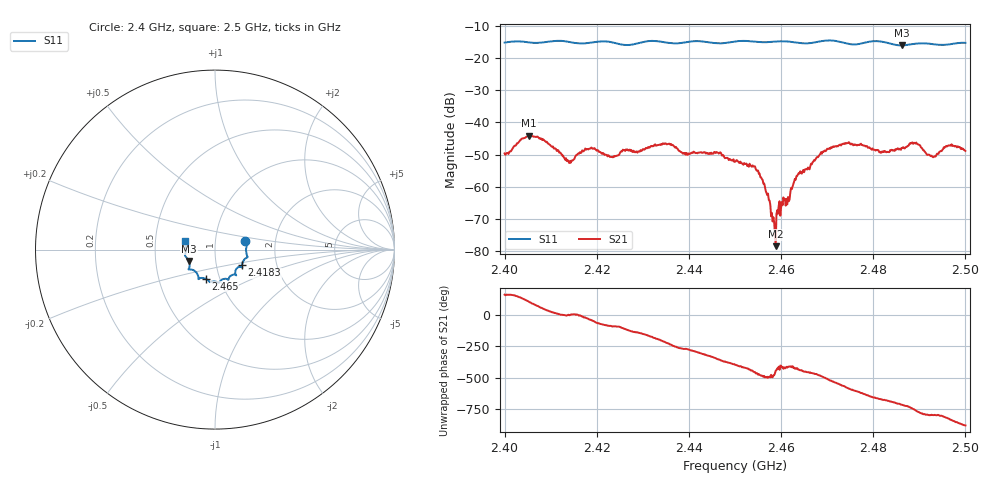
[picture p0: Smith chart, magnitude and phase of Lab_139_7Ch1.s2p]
# Hz S RI R
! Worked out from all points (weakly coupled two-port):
!   601 points, 2.4 GHz to 2.5 GHz, reference 50 ohm
!   highest |S21| = -44.08 dB at 2.4053 GHz (marker M1); lowest = -78.5 dB at 2.4588 GHz (marker M2)
!   lowest |S11| = -16.0 dB at 2.4862 GHz (marker M3), VSWR 1.38, Z = 37.1 - j4.82 ohm
!   |S11| at or under -10 dB: start of sweep to end of sweep
!   S12 and S22 are empty: the file has one direction only
!   S11 on the Smith chart (normalised r, x): 2.4 GHz: 1.40, +0.13; 2.4183 GHz: 1.33, -0.24; 2.465 GHz: 0.86, -0.29; 2.5 GHz: 0.71, +0.07
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2.4e9  0.1688 0.0459  -0.00309 0.00116  0 0  0 0
2.405333e9  0.1753 0.0156  -0.00121 0.00613  0 0  0 0
2.414e9  0.1726 -0.0471  0.00233 -0.000181  0 0  0 0
2.416667e9  0.155 -0.0683  0.00334 -0.000571  0 0  0 0
2.418333e9  0.15 -0.0869  0.00313 -0.00232  0 0  0 0
2.423333e9  0.1474 -0.0973  -0.000158 -0.0029  0 0  0 0
2.433333e9  0.1167 -0.1412  -0.00427 0.00124  0 0  0 0
2.45e9  0.0254 -0.1805  0.00193 -0.00153  0 0  0 0
2.454833e9  0.00878 -0.1791  -0.000509 -0.00169  0 0  0 0
2.457e9  -0.00993 -0.1775  -0.000514 -0.000534  0 0  0 0
2.458333e9  -0.0203 -0.1795  -0.000181 -0.000282  0 0  0 0
2.458833e9  -0.023 -0.1801  8.01e-06 -0.000118  0 0  0 0
2.46e9  -0.0277 -0.1813  0.000325 -0.000342  0 0  0 0
2.465e9  -0.0526 -0.162  -8.54e-05 -0.00168  0 0  0 0
2.466667e9  -0.0712 -0.1576  -0.000535 -0.00216  0 0  0 0
2.474333e9  -0.0973 -0.1379  -0.0036 0.00312  0 0  0 0
2.483333e9  -0.142 -0.096  0.00285 0.00195  0 0  0 0
2.486167e9  -0.1448 -0.0634  0.004 0.000269  0 0  0 0
2.489333e9  -0.1641 -0.0391  0.00347 -0.00341  0 0  0 0
2.493e9  -0.164 -0.0192  0.000564 -0.00281  0 0  0 0
2.4965e9  -0.1628 0.0221  -0.00141 -0.00414  0 0  0 0
2.5e9  -0.1669 0.0473  -0.00342 -0.00115  0 0  0 0
